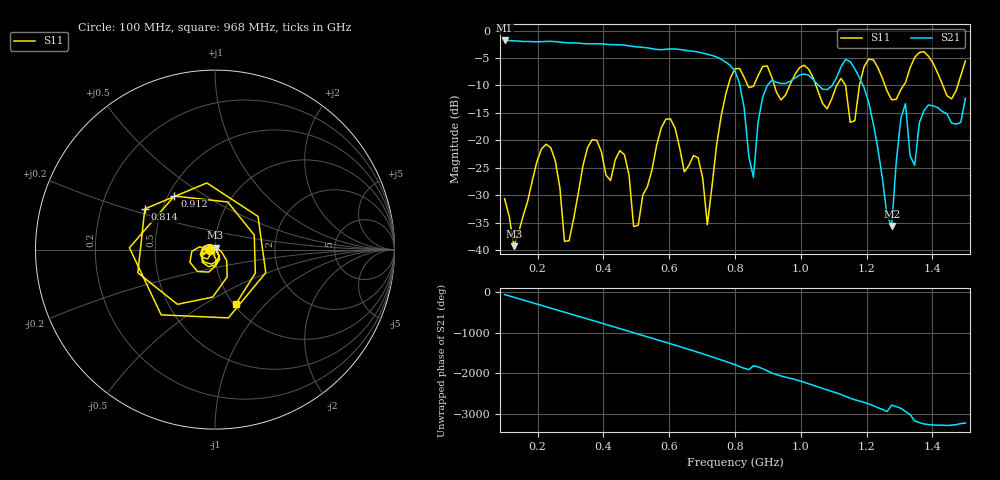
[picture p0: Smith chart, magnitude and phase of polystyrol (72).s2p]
! NanoVNA-App
! Date: 2025-09-26 09:42:26
! Start: 100MHz Stop: 1,5GHz Points: 101
! S-Parameter data: F S11 S21 S12 S22
# Hz S RI R 50
!  Frequency  S11_Real  S11_Imag  S21_Real  S21_Imag  S12_Real  S12_Imag  S22_Real  S22_Imag
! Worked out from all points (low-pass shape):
!   101 points, 100 MHz to 1.5 GHz, reference 50 ohm
!   highest |S21| = -1.79 dB at 100 MHz (marker M1); lowest = -35.6 dB at 1.276 GHz (marker M2)
!   |S21| within 3 dB of the highest: start of sweep to 743.4 MHz
!   lowest |S11| = -39.3 dB at 128 MHz (marker M3), VSWR 1.02, Z = 50.3 + j1.05 ohm
!   |S11| at or under -10 dB: start of sweep to 779.5 MHz; 1.046 GHz to 1.109 GHz (62.85 MHz wide, 5.83 % of centre); 1.256 GHz to 1.312 GHz (56.17 MHz wide, 4.37 % of centre) (the widest 3 of 7)
!   S12 and S22 are empty: the file has one direction only
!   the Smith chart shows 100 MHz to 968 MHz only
!   S11 on the Smith chart (normalised r, x): 100 MHz: 0.94, -0.01; 814 MHz: 0.40, +0.23; 912 MHz: 0.54, +0.37; 968 MHz: 1.02, -0.70
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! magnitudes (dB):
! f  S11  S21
! 100 MHz  -30.7  -1.8
! 128 MHz  -39.3  -1.9
! 212 MHz  -21.6  -2.0
! 254 MHz  -23.7  -2.0
! 282 MHz  -38.4  -2.2
! 338 MHz  -24.6  -2.3
! 464 MHz  -22.6  -2.6
! 506 MHz  -35.5  -3.0
! 576 MHz  -17.7  -3.5
! 688 MHz  -23.2  -3.9
! 716 MHz  -35.4  -4.3
! 800 MHz  -7.0  -7.4
! 814 MHz  -6.9  -9.6
! 856 MHz  -10.2  -26.7
! 912 MHz  -8.5  -9.1
! 968 MHz  -9.7  -9.2
! 1.038 GHz  -8.7  -8.9
! 1.178 GHz  -10.0  -8.5
! 1.276 GHz  -12.6  -35.6
! 1.318 GHz  -9.5  -13.3
! 1.346 GHz  -4.9  -24.6
! 1.5 GHz  -5.5  -12.3
